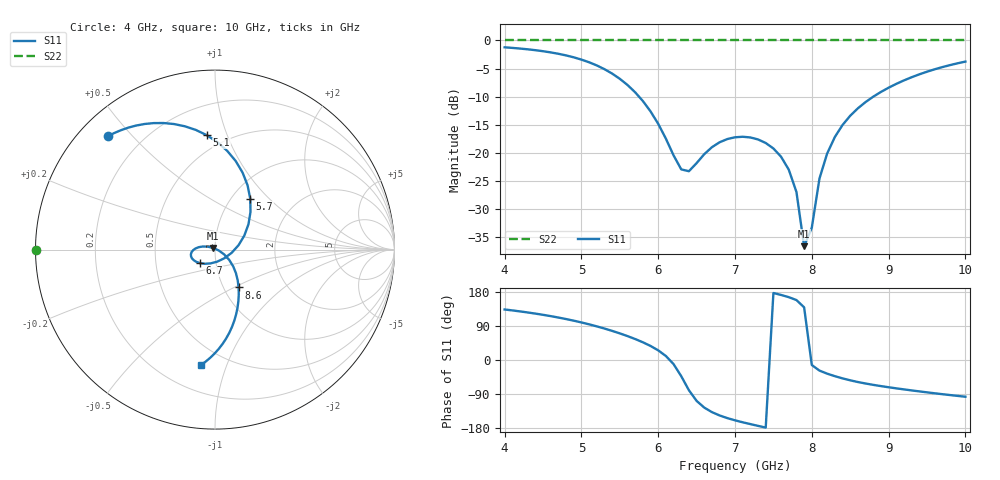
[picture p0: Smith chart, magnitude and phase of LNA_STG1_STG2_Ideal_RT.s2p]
! Touchstone Ver. 1.0
! Number of ports is 2
# Hz	S	RI	R	50.000000	300.000000
! SCATTERING PARAMETERS  :
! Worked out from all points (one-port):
!   61 points, 4 GHz to 10 GHz, reference 50 ohm
!   lowest |S11| = -36.6 dB at 7.9 GHz (marker M1), VSWR 1.03, Z = 48.9 + j0.944 ohm
!   |S11| at or under -10 dB: 5.749 GHz to 8.802 GHz (3.053 GHz wide, 42 % of centre)
!   S11 on the Smith chart (normalised r, x): 4 GHz: 0.08, +0.43; 5.1 GHz: 0.39, +0.85; 5.7 GHz: 1.21, +0.78; 6.7 GHz: 0.84, -0.13; 8.6 GHz: 1.17, -0.53; 10 GHz: 0.37, -0.82
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4e9  -0.5961 0.6319  0 0  0 0  -0.9998 1.22e-16
4.6e9  -0.3404 0.7049  0 0  0 0  -0.9998 1.22e-16
5e9  -0.107 0.6668  0 0  0 0  -0.9998 1.22e-16
5.1e9  -0.046 0.6376  0 0  0 0  -0.9998 1.22e-16
5.7e9  0.1963 0.2839  0 0  0 0  -0.9998 1.22e-16
6e9  0.1633 0.0778  0 0  0 0  -0.9998 1.22e-16
6.3e9  0.0522 -0.0482  0 0  0 0  -0.9998 1.22e-16
6.4e9  0.0121 -0.0674  0 0  0 0  -0.9998 1.22e-16
6.7e9  -0.0828 -0.0755  0 0  0 0  -0.9998 1.22e-16
7e9  -0.1283 -0.0488  0 0  0 0  -0.9998 1.22e-16
7.3e9  -0.1305 -0.0141  0 0  0 0  -0.9998 1.22e-16
7.6e9  -0.0911 0.0134  0 0  0 0  -0.9998 1.22e-16
7.7e9  -0.0685 0.0173  0 0  0 0  -0.9998 1.22e-16
7.8e9  -0.0415 0.0166  0 0  0 0  -0.9998 1.22e-16
7.9e9  -0.0111 0.00965  0 0  0 0  -0.9998 1.22e-16
8e9  0.0209 -0.00493  0 0  0 0  -0.9998 1.22e-16
8.1e9  0.0521 -0.0277  0 0  0 0  -0.9998 1.22e-16
8.2e9  0.0796 -0.0579  0 0  0 0  -0.9998 1.22e-16
8.4e9  0.1169 -0.1322  0 0  0 0  -0.9998 1.22e-16
8.6e9  0.1314 -0.211  0 0  0 0  -0.9998 1.22e-16
9e9  0.1177 -0.3606  0 0  0 0  -0.9998 1.22e-16
1e10  -0.0783 -0.6433  0 0  0 0  -0.9998 1.22e-16
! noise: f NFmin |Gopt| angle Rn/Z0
4e+09  inf  nan  nan  inf
4.6e+09  inf  nan  nan  inf
5.3e+09  inf  nan  nan  inf
6e+09  inf  nan  nan  inf
6.6e+09  inf  nan  nan  inf
7.3e+09  inf  nan  nan  inf
8e+09  inf  nan  nan  inf
8.6e+09  inf  nan  nan  inf
9.3e+09  inf  nan  nan  inf
1e+10  inf  nan  nan  inf
